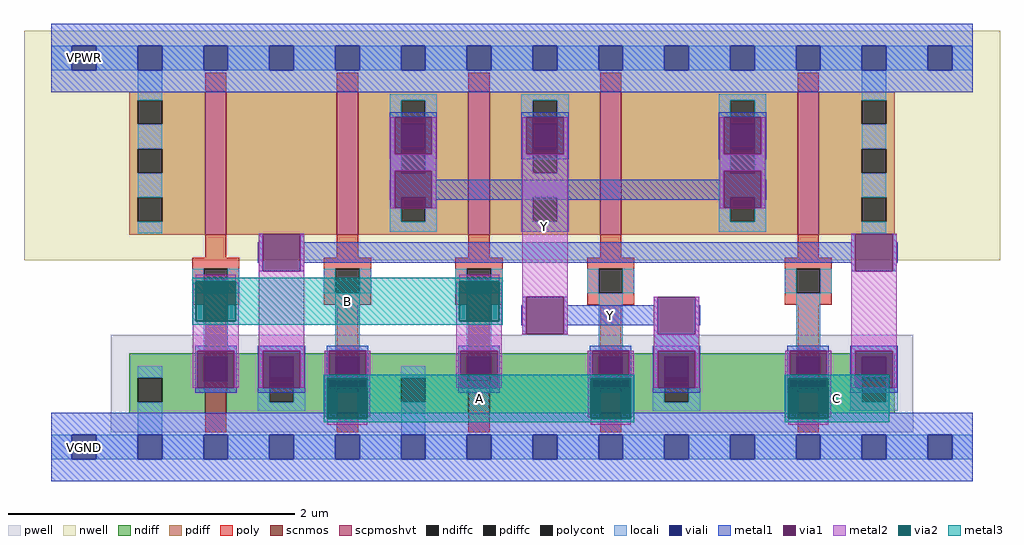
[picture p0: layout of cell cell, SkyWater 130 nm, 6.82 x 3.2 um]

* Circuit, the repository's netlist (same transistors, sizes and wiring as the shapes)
* Generated reference circuit; dimensions in micrometers.
.subckt dd2_gb2__f17_1 A B C VGND VNB VPB VPWR Y
XM0 Y A _net1 VNB sky130_fd_pr__nfet_01v8 w=0.420 l=0.150
XM1 _net1 B VGND VNB sky130_fd_pr__nfet_01v8 w=0.420 l=0.150
XM2 Y C _net2 VNB sky130_fd_pr__nfet_01v8 w=0.420 l=0.150
XM3 _net2 A VGND VNB sky130_fd_pr__nfet_01v8 w=0.420 l=0.150
XM4 _net2 B VGND VNB sky130_fd_pr__nfet_01v8 w=0.420 l=0.150
XM5 Y A _net3 VPB sky130_fd_pr__pfet_01v8_hvt w=1.000 l=0.150
XM6 Y B _net3 VPB sky130_fd_pr__pfet_01v8_hvt w=1.000 l=0.150
XM7 _net3 C VPWR VPB sky130_fd_pr__pfet_01v8_hvt w=1.000 l=0.150
XM8 _net3 A _net4 VPB sky130_fd_pr__pfet_01v8_hvt w=1.000 l=0.150
XM9 _net4 B VPWR VPB sky130_fd_pr__pfet_01v8_hvt w=1.000 l=0.150
.ends dd2_gb2__f17_1

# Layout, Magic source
magic
tech sky130A
magscale 1 2
<< nwell >>
rect -38 261 1326 582
<< pwell >>
rect 83 21 1205 157
<< scnmos >>
rect 215 47 245 131
rect 399 47 429 131
rect 583 47 613 131
rect 767 47 797 131
rect 1043 47 1073 131
<< scpmoshvt >>
rect 215 297 245 497
rect 399 297 429 497
rect 583 297 613 497
rect 767 297 797 497
rect 1043 297 1073 497
<< ndiff >>
rect 109 97 215 131
rect 109 63 121 97
rect 155 63 215 97
rect 109 47 215 63
rect 245 97 399 131
rect 245 63 305 97
rect 339 63 399 97
rect 245 47 399 63
rect 429 97 583 131
rect 429 63 489 97
rect 523 63 583 97
rect 429 47 583 63
rect 613 47 767 131
rect 797 97 1043 131
rect 797 63 857 97
rect 891 63 1043 97
rect 797 47 1043 63
rect 1073 97 1179 131
rect 1073 63 1133 97
rect 1167 63 1179 97
rect 1073 47 1179 63
<< pdiff >>
rect 109 485 215 497
rect 109 451 121 485
rect 155 451 215 485
rect 109 417 215 451
rect 109 383 121 417
rect 155 383 215 417
rect 109 349 215 383
rect 109 315 121 349
rect 155 315 215 349
rect 109 297 215 315
rect 245 297 399 497
rect 429 485 583 497
rect 429 451 489 485
rect 523 451 583 485
rect 429 417 583 451
rect 429 383 489 417
rect 523 383 583 417
rect 429 349 583 383
rect 429 315 489 349
rect 523 315 583 349
rect 429 297 583 315
rect 613 485 767 497
rect 613 451 673 485
rect 707 451 767 485
rect 613 417 767 451
rect 613 383 673 417
rect 707 383 767 417
rect 613 349 767 383
rect 613 315 673 349
rect 707 315 767 349
rect 613 297 767 315
rect 797 485 1043 497
rect 797 451 949 485
rect 983 451 1043 485
rect 797 417 1043 451
rect 797 383 949 417
rect 983 383 1043 417
rect 797 349 1043 383
rect 797 315 949 349
rect 983 315 1043 349
rect 797 297 1043 315
rect 1073 485 1179 497
rect 1073 451 1133 485
rect 1167 451 1179 485
rect 1073 417 1179 451
rect 1073 383 1133 417
rect 1167 383 1179 417
rect 1073 349 1179 383
rect 1073 315 1133 349
rect 1167 315 1179 349
rect 1073 297 1179 315
<< ndiffc >>
rect 121 63 155 97
rect 305 63 339 97
rect 489 63 523 97
rect 857 63 891 97
rect 1133 63 1167 97
<< pdiffc >>
rect 121 451 155 485
rect 121 383 155 417
rect 121 315 155 349
rect 489 451 523 485
rect 489 383 523 417
rect 489 315 523 349
rect 673 451 707 485
rect 673 383 707 417
rect 673 315 707 349
rect 949 451 983 485
rect 949 383 983 417
rect 949 315 983 349
rect 1133 451 1167 485
rect 1133 383 1167 417
rect 1133 315 1167 349
<< poly >>
rect 215 497 245 523
rect 399 497 429 523
rect 583 497 613 523
rect 767 497 797 523
rect 1043 497 1073 523
rect 215 265 245 297
rect 399 265 429 297
rect 583 265 613 297
rect 767 265 797 297
rect 1043 265 1073 297
rect 197 249 263 265
rect 197 215 213 249
rect 247 215 263 249
rect 197 199 263 215
rect 381 249 447 265
rect 381 215 397 249
rect 431 215 447 249
rect 381 199 447 215
rect 565 249 631 265
rect 565 215 581 249
rect 615 215 631 249
rect 565 199 631 215
rect 749 249 815 265
rect 749 215 765 249
rect 799 215 815 249
rect 749 199 815 215
rect 1025 249 1091 265
rect 1025 215 1041 249
rect 1075 215 1091 249
rect 1025 199 1091 215
rect 215 131 245 199
rect 399 131 429 199
rect 583 131 613 199
rect 767 131 797 199
rect 1043 131 1073 199
rect 215 21 245 47
rect 399 21 429 47
rect 583 21 613 47
rect 767 21 797 47
rect 1043 21 1073 47
<< polycont >>
rect 213 215 247 249
rect 397 215 431 249
rect 581 215 615 249
rect 765 215 799 249
rect 1041 215 1075 249
<< locali >>
rect 0 527 29 561
rect 63 527 121 561
rect 155 527 213 561
rect 247 527 305 561
rect 339 527 397 561
rect 431 527 489 561
rect 523 527 581 561
rect 615 527 673 561
rect 707 527 765 561
rect 799 527 857 561
rect 891 527 949 561
rect 983 527 1041 561
rect 1075 527 1133 561
rect 1167 527 1225 561
rect 1259 527 1288 561
rect 121 485 155 527
rect 121 417 155 451
rect 121 349 155 383
rect 121 299 155 315
rect 473 485 539 493
rect 473 418 489 485
rect 523 418 539 485
rect 473 417 539 418
rect 473 383 489 417
rect 523 383 539 417
rect 473 349 539 383
rect 473 315 489 349
rect 523 315 539 349
rect 473 301 539 315
rect 657 485 723 493
rect 657 418 673 485
rect 707 418 723 485
rect 657 417 723 418
rect 657 383 673 417
rect 707 383 723 417
rect 657 349 723 383
rect 657 315 673 349
rect 707 315 723 349
rect 657 301 723 315
rect 933 485 999 493
rect 933 418 949 485
rect 983 418 999 485
rect 933 417 999 418
rect 933 383 949 417
rect 983 383 999 417
rect 933 349 999 383
rect 933 315 949 349
rect 983 315 999 349
rect 933 301 999 315
rect 1133 485 1167 527
rect 1133 417 1167 451
rect 1133 349 1167 383
rect 1133 299 1167 315
rect 197 215 213 249
rect 247 215 263 249
rect 381 215 397 249
rect 431 215 447 249
rect 565 215 581 249
rect 615 215 631 249
rect 749 215 765 249
rect 799 215 815 249
rect 1025 215 1041 249
rect 1075 215 1091 249
rect 213 126 247 215
rect 121 97 155 113
rect 213 76 247 92
rect 289 126 355 142
rect 121 17 155 63
rect 289 63 305 126
rect 339 63 355 126
rect 397 126 431 215
rect 581 126 615 215
rect 397 76 431 92
rect 489 97 523 113
rect 289 51 355 63
rect 581 76 615 92
rect 765 126 799 215
rect 765 76 799 92
rect 841 126 907 142
rect 489 17 523 63
rect 841 63 857 126
rect 891 63 907 126
rect 1041 126 1075 215
rect 1041 76 1075 92
rect 1117 126 1183 142
rect 841 51 907 63
rect 1117 63 1133 126
rect 1167 63 1183 126
rect 1117 51 1183 63
rect 0 -17 29 17
rect 63 -17 121 17
rect 155 -17 213 17
rect 247 -17 305 17
rect 339 -17 397 17
rect 431 -17 489 17
rect 523 -17 581 17
rect 615 -17 673 17
rect 707 -17 765 17
rect 799 -17 857 17
rect 891 -17 949 17
rect 983 -17 1041 17
rect 1075 -17 1133 17
rect 1167 -17 1225 17
rect 1259 -17 1288 17
<< viali >>
rect 29 527 63 561
rect 121 527 155 561
rect 213 527 247 561
rect 305 527 339 561
rect 397 527 431 561
rect 489 527 523 561
rect 581 527 615 561
rect 673 527 707 561
rect 765 527 799 561
rect 857 527 891 561
rect 949 527 983 561
rect 1041 527 1075 561
rect 1133 527 1167 561
rect 1225 527 1259 561
rect 489 451 523 452
rect 489 418 523 451
rect 673 451 707 452
rect 673 418 707 451
rect 949 451 983 452
rect 949 418 983 451
rect 213 92 247 126
rect 305 97 339 126
rect 305 92 339 97
rect 397 92 431 126
rect 581 92 615 126
rect 765 92 799 126
rect 857 97 891 126
rect 857 92 891 97
rect 1041 92 1075 126
rect 1133 97 1167 126
rect 1133 92 1167 97
rect 29 -17 63 17
rect 121 -17 155 17
rect 213 -17 247 17
rect 305 -17 339 17
rect 397 -17 431 17
rect 489 -17 523 17
rect 581 -17 615 17
rect 673 -17 707 17
rect 765 -17 799 17
rect 857 -17 891 17
rect 949 -17 983 17
rect 1041 -17 1075 17
rect 1133 -17 1167 17
rect 1225 -17 1259 17
<< metal1 >>
rect 0 561 1288 592
rect 0 527 29 561
rect 63 527 121 561
rect 155 527 213 561
rect 247 527 305 561
rect 339 527 397 561
rect 431 527 489 561
rect 523 527 581 561
rect 615 527 673 561
rect 707 527 765 561
rect 799 527 857 561
rect 891 527 949 561
rect 983 527 1041 561
rect 1075 527 1133 561
rect 1167 527 1225 561
rect 1259 527 1288 561
rect 0 496 1288 527
rect 473 461 539 468
rect 473 409 480 461
rect 532 409 539 461
rect 473 402 539 409
rect 657 461 723 468
rect 657 409 664 461
rect 716 409 723 461
rect 657 402 723 409
rect 933 461 999 468
rect 933 409 940 461
rect 992 409 999 461
rect 933 402 999 409
rect 474 386 538 402
rect 474 374 480 386
rect 473 346 480 374
rect 474 334 480 346
rect 532 374 538 386
rect 934 386 998 402
rect 934 374 940 386
rect 532 346 940 374
rect 532 334 538 346
rect 934 334 940 346
rect 992 374 998 386
rect 992 346 999 374
rect 992 334 998 346
rect 290 286 296 298
rect 289 258 296 286
rect 290 246 296 258
rect 348 286 354 298
rect 1118 286 1124 298
rect 348 258 1124 286
rect 348 246 354 258
rect 1118 246 1124 258
rect 1176 286 1182 298
rect 1176 258 1183 286
rect 1176 246 1182 258
rect 658 198 664 210
rect 657 170 664 198
rect 658 158 664 170
rect 716 198 722 210
rect 842 198 848 210
rect 716 170 848 198
rect 716 158 722 170
rect 842 158 848 170
rect 900 198 906 210
rect 900 170 907 198
rect 900 158 906 170
rect 842 142 906 158
rect 201 135 259 142
rect 201 83 204 135
rect 256 83 259 135
rect 201 76 259 83
rect 289 135 355 142
rect 289 83 296 135
rect 348 83 355 135
rect 289 76 355 83
rect 385 135 443 142
rect 385 83 388 135
rect 440 83 443 135
rect 385 76 443 83
rect 569 135 627 142
rect 569 83 572 135
rect 624 83 627 135
rect 569 76 627 83
rect 753 135 811 142
rect 753 83 756 135
rect 808 83 811 135
rect 753 76 811 83
rect 841 135 907 142
rect 841 83 848 135
rect 900 83 907 135
rect 841 76 907 83
rect 1029 135 1087 142
rect 1029 83 1032 135
rect 1084 83 1087 135
rect 1029 76 1087 83
rect 1117 135 1183 142
rect 1117 83 1124 135
rect 1176 83 1183 135
rect 1117 76 1183 83
rect 0 17 1288 48
rect 0 -17 29 17
rect 63 -17 121 17
rect 155 -17 213 17
rect 247 -17 305 17
rect 339 -17 397 17
rect 431 -17 489 17
rect 523 -17 581 17
rect 615 -17 673 17
rect 707 -17 765 17
rect 799 -17 857 17
rect 891 -17 949 17
rect 983 -17 1041 17
rect 1075 -17 1133 17
rect 1167 -17 1225 17
rect 1259 -17 1288 17
rect 0 -48 1288 -17
<< via1 >>
rect 480 452 532 461
rect 480 418 489 452
rect 489 418 523 452
rect 523 418 532 452
rect 480 409 532 418
rect 664 452 716 461
rect 664 418 673 452
rect 673 418 707 452
rect 707 418 716 452
rect 664 409 716 418
rect 940 452 992 461
rect 940 418 949 452
rect 949 418 983 452
rect 983 418 992 452
rect 940 409 992 418
rect 480 334 532 386
rect 940 334 992 386
rect 296 246 348 298
rect 1124 246 1176 298
rect 664 158 716 210
rect 848 158 900 210
rect 204 126 256 135
rect 204 92 213 126
rect 213 92 247 126
rect 247 92 256 126
rect 204 83 256 92
rect 296 126 348 135
rect 296 92 305 126
rect 305 92 339 126
rect 339 92 348 126
rect 296 83 348 92
rect 388 126 440 135
rect 388 92 397 126
rect 397 92 431 126
rect 431 92 440 126
rect 388 83 440 92
rect 572 126 624 135
rect 572 92 581 126
rect 581 92 615 126
rect 615 92 624 126
rect 572 83 624 92
rect 756 126 808 135
rect 756 92 765 126
rect 765 92 799 126
rect 799 92 808 126
rect 756 83 808 92
rect 848 126 900 135
rect 848 92 857 126
rect 857 92 891 126
rect 891 92 900 126
rect 848 83 900 92
rect 1032 126 1084 135
rect 1032 92 1041 126
rect 1041 92 1075 126
rect 1075 92 1084 126
rect 1032 83 1084 92
rect 1124 126 1176 135
rect 1124 92 1133 126
rect 1133 92 1167 126
rect 1167 92 1176 126
rect 1124 83 1176 92
<< metal2 >>
rect 474 409 480 461
rect 532 409 538 461
rect 474 386 538 409
rect 474 334 480 386
rect 532 334 538 386
rect 658 409 664 461
rect 716 409 722 461
rect 290 246 296 298
rect 348 246 354 298
rect 202 232 258 241
rect 198 176 202 230
rect 258 176 262 230
rect 198 135 262 176
rect 198 83 204 135
rect 256 83 262 135
rect 290 135 354 246
rect 570 232 626 241
rect 566 176 570 230
rect 626 176 630 230
rect 566 135 630 176
rect 658 210 722 409
rect 934 409 940 461
rect 992 409 998 461
rect 934 386 998 409
rect 934 334 940 386
rect 992 334 998 386
rect 1118 246 1124 298
rect 1176 246 1182 298
rect 658 158 664 210
rect 716 158 722 210
rect 842 158 848 210
rect 900 158 906 210
rect 842 135 906 158
rect 1118 135 1182 246
rect 290 83 296 135
rect 348 83 354 135
rect 382 96 388 135
rect 440 96 446 135
rect 382 42 386 96
rect 442 42 446 96
rect 566 83 572 135
rect 624 83 630 135
rect 750 96 756 135
rect 808 96 814 135
rect 750 42 754 96
rect 386 31 442 40
rect 810 42 814 96
rect 842 83 848 135
rect 900 83 906 135
rect 1026 96 1032 135
rect 1084 96 1090 135
rect 1026 42 1030 96
rect 754 31 810 40
rect 1086 42 1090 96
rect 1118 83 1124 135
rect 1176 83 1182 135
rect 1030 31 1086 40
<< via2 >>
rect 202 176 258 232
rect 570 176 626 232
rect 386 83 388 96
rect 388 83 440 96
rect 440 83 442 96
rect 386 40 442 83
rect 754 83 756 96
rect 756 83 808 96
rect 808 83 810 96
rect 754 40 810 83
rect 1030 83 1032 96
rect 1032 83 1084 96
rect 1084 83 1086 96
rect 1030 40 1086 83
<< metal3 >>
rect 197 232 631 237
rect 197 176 202 232
rect 258 176 570 232
rect 626 176 631 232
rect 197 171 631 176
rect 381 96 815 101
rect 381 40 386 96
rect 442 40 754 96
rect 810 40 815 96
rect 381 35 815 40
rect 1025 96 1171 101
rect 1025 40 1030 96
rect 1086 40 1171 96
rect 1025 35 1171 40
<< labels >>
rlabel metal1 s 46 0 46 0 4 VGND
port 4 se
rlabel metal1 s 46 544 46 544 4 VPWR
port 7 se
rlabel metal1 s 782 184 782 184 4 Y
rlabel metal2 s 690 309 690 309 4 Y
port 8 se
rlabel nwell s 46 544 46 544 4 VPB
port 6 se
rlabel pwell s 46 0 46 0 4 VNB
port 5 se
rlabel metal3 s 598 68 598 68 4 A
port 1 se
rlabel metal3 s 414 204 414 204 4 B
port 2 se
rlabel metal3 s 1098 68 1098 68 4 C
port 3 se
<< properties >>
string FIXED_BBOX 0 0 2576 1088
<< end >>
